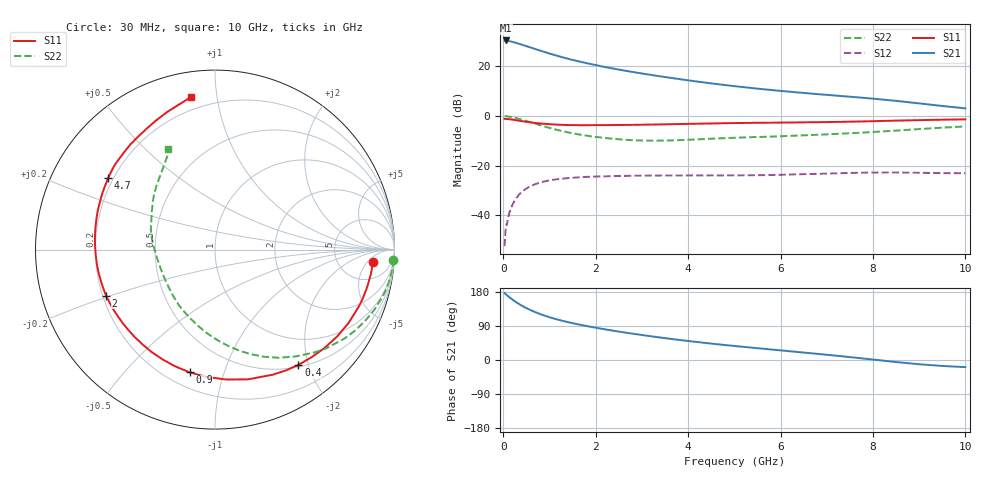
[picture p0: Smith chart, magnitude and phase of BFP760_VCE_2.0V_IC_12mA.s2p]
! Infineon Technologies  Discrete & RF Semiconductors
! BFP760
! VCE =  2.0 V,  IC =  12 mA
! Common Emitter S-Parameters:  Nov 2012
# GHz  S  MA  R  50
!  f  S11  S21  S12  S22
! GHz  MAG  ANG  MAG  ANG  MAG  ANG  MAG  ANG
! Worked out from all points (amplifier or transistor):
!   99 points, 30 MHz to 10 GHz, reference 50 ohm
!   highest |S21| = 30.5 dB at 50 MHz (marker M1)
!   |S21| within 3 dB of that: start of sweep to 618.9 MHz
!   unconditionally stable (mu >= 1): 5.287 GHz to end of sweep
!   at 350 MHz: K = 0.14, MSG = 30.3 dB, |S12| = -31.5 dB
!   at 3.5 GHz: K = 0.73, MSG = 19.8 dB, |S12| = -23.9 dB
!   at 10 GHz: K = 1.16, MAG = 10.6 dB, |S12| = -23.0 dB
!   S11 on the Smith chart (normalised r, x): 30 MHz: 11, -7; 400 MHz: 0.53, -1.84; 900 MHz: 0.29, -0.77; 2 GHz: 0.21, -0.19; 4.7 GHz: 0.18, +0.30; 10 GHz: 0.13, +0.85
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0.03  0.882 -4.5  33.01 176.8  0.0024 86.6  0.9954 -3.2
0.04  0.8815 -6.0  33.05 175.9  0.0036 81.7  0.9952 -4.3
0.05  0.88 -7.4  33.42 174.1  0.005 80.9  0.9951 -5.3
0.15  0.8609 -21.9  32.11 164.1  0.0124 78.4  0.9689 -15.8
0.25  0.8351 -35.5  30.4 155.1  0.02 71.3  0.9254 -25.5
0.3  0.8204 -41.9  29.44 151.0  0.0234 67.7  0.9019 -30.0
0.4  0.7927 -54.1  27.58 143.6  0.0294 61.9  0.848 -38.3
0.5  0.7678 -65.2  25.7 137.1  0.0348 56.3  0.7963 -46.0
0.6  0.7458 -75.7  23.98 131.2  0.0392 51.8  0.7464 -52.9
0.8  0.7109 -93.9  20.88 121.1  0.046 44.0  0.6559 -65.5
0.9  0.6983 -101.7  19.49 116.9  0.0485 40.7  0.6152 -71.2
1.1  0.678 -115.5  17.1 109.3  0.0525 35.2  0.5466 -81.4
1.3  0.6652 -127.2  15.15 102.9  0.0552 31.1  0.4926 -90.6
1.7  0.6564 -146.0  12.26 92.1  0.0589 24.9  0.417 -106.8
2  0.6587 -157.1  10.68 85.2  0.0607 21.4  0.3813 -118.3
2.6  0.6638 -175.0  8.336 73.1  0.0624 16.5  0.3357 -138.6
3.4  0.6807 166.6  6.327 59.3  0.0636 12.3  0.3212 -163.1
4.7  0.7165 146.0  4.331 40.8  0.0638 9.3  0.3568 170.2
5.1  0.7264 141.8  3.922 35.9  0.0641 9.1  0.3692 165.0
6.7  0.7532 128.2  2.824 17.4  0.0684 8.6  0.4173 147.1
8.5  0.8115 109.2  2.028 -5.4  0.0732 2.3  0.5103 127.0
10  0.8612 99.0  1.433 -18.8  0.0707 0.4  0.6205 114.9
